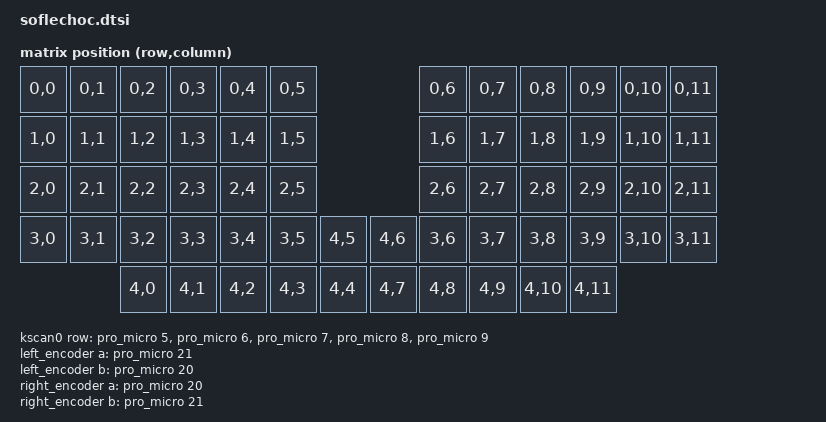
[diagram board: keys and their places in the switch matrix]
/*
 * Sofle Choc (PandaKB) shield for ZMK — nice!nano halves + XIAO/Prospector dongle
 *
 * Based on the in-tree ZMK sofle shield, adapted for the Sofle Choc Wireless:
 * - matrix 5 rows x 6 cols per half (COL2ROW), rows on D5..D9
 * - OLED SSD1306 128x32 on I2C
 * - WS2812 per-key RGB via SPI3 (D0/P0.08 on the nice!nano), 30 LEDs per half
 * - EC11 rotary encoders (D21/D20 on the left half, D20/D21 on the right)
 *
 * This base file is shared by all three builds. The keyboard-only pieces
 * (key matrix, OLED, physical layout) are added by the half overlays, so the
 * dongle build stays clean (Prospector brings its own ST7789 display).
 */

#include <dt-bindings/zmk/matrix_transform.h>
#include <dt-bindings/led/led.h>
#include <layouts/josefadamcik/sofle.dtsi>

&josefadamcik_sofle_layout {
    transform = <&default_transform>;
};

/ {
    chosen {
        zmk,underglow = &led_strip;
    };

    default_transform: keymap_transform_0 {
        compatible = "zmk,matrix-transform";
        columns = <12>;
        rows = <5>;

// | SW6  | SW5  | SW4  | SW3  | SW2  | SW1  |                 | SW1  | SW2  | SW3  | SW4  | SW5  | SW6  |
// | SW12 | SW11 | SW10 | SW9  | SW8  | SW7  |                 | SW7  | SW8  | SW9  | SW10 | SW11 | SW12 |
// | SW18 | SW17 | SW16 | SW15 | SW14 | SW13 |                 | SW13 | SW14 | SW15 | SW16 | SW17 | SW18 |
// | SW24 | SW23 | SW22 | SW21 | SW20 | SW19 | SW25 |   | SW25 | SW19 | SW20 | SW21 | SW22 | SW23 | SW24 |
//               | SW30 | SW29 | SW28 | SW27 | SW26 |   | SW26 | SW27 | SW28 | SW29 | SW30 |
        map = <
            RC(0,0) RC(0,1) RC(0,2) RC(0,3) RC(0,4) RC(0,5)                 RC(0,6) RC(0,7) RC(0,8)  RC(0,9) RC(0,10) RC(0,11)
            RC(1,0) RC(1,1) RC(1,2) RC(1,3) RC(1,4) RC(1,5)                 RC(1,6) RC(1,7) RC(1,8)  RC(1,9) RC(1,10) RC(1,11)
            RC(2,0) RC(2,1) RC(2,2) RC(2,3) RC(2,4) RC(2,5)                 RC(2,6) RC(2,7) RC(2,8)  RC(2,9) RC(2,10) RC(2,11)
            RC(3,0) RC(3,1) RC(3,2) RC(3,3) RC(3,4) RC(3,5) RC(4,5) RC(4,6) RC(3,6) RC(3,7) RC(3,8)  RC(3,9) RC(3,10) RC(3,11)
                            RC(4,0) RC(4,1) RC(4,2) RC(4,3) RC(4,4) RC(4,7) RC(4,8) RC(4,9) RC(4,10) RC(4,11)
        >;
    };

    kscan0: kscan {
        compatible = "zmk,kscan-gpio-matrix";
        wakeup-source;
        diode-direction = "col2row";

        row-gpios
            = <&pro_micro 5 (GPIO_ACTIVE_HIGH | GPIO_PULL_DOWN)>
            , <&pro_micro 6 (GPIO_ACTIVE_HIGH | GPIO_PULL_DOWN)>
            , <&pro_micro 7 (GPIO_ACTIVE_HIGH | GPIO_PULL_DOWN)>
            , <&pro_micro 8 (GPIO_ACTIVE_HIGH | GPIO_PULL_DOWN)>
            , <&pro_micro 9 (GPIO_ACTIVE_HIGH | GPIO_PULL_DOWN)>
            ;
    };

    left_encoder: encoder_left {
        compatible = "alps,ec11";
        a-gpios = <&pro_micro 21 (GPIO_ACTIVE_HIGH | GPIO_PULL_UP)>;
        b-gpios = <&pro_micro 20 (GPIO_ACTIVE_HIGH | GPIO_PULL_UP)>;
        steps = <40>;
        status = "disabled";
    };

    right_encoder: encoder_right {
        compatible = "alps,ec11";
        a-gpios = <&pro_micro 20 (GPIO_ACTIVE_HIGH | GPIO_PULL_UP)>;
        b-gpios = <&pro_micro 21 (GPIO_ACTIVE_HIGH | GPIO_PULL_UP)>;
        steps = <40>;
        status = "disabled";
    };

    sensors: sensors {
        compatible = "zmk,keymap-sensors";
        sensors = <&left_encoder &right_encoder>;
        triggers-per-rotation = <20>;
    };
};

/*
 * WS2812 data line of the Sofle Choc Wireless is wired to the Arduino D0 pin
 * of the nice!nano (P0.08) — P0.06 is the nice!view CS on this PCB, do not
 * use it. Bit-banged GPIO WS2812 is unreliable on nRF52, so drive it through
 * SPI3 (same approach as the in-tree sofle shield for nice!nano).
 */
&pinctrl {
    spi3_default: spi3_default {
        group1 {
            psels = <NRF_PSEL(SPIM_MOSI, 0, 8)>;
        };
    };

    spi3_sleep: spi3_sleep {
        group1 {
            psels = <NRF_PSEL(SPIM_MOSI, 0, 8)>;
            low-power-enable;
        };
    };
};

&spi3 {
    compatible = "nordic,nrf-spim";
    status = "okay";

    pinctrl-0 = <&spi3_default>;
    pinctrl-1 = <&spi3_sleep>;
    pinctrl-names = "default", "sleep";

    led_strip: ws2812@0 {
        compatible = "worldsemi,ws2812-spi";
        reg = <0>; /* ignored, but necessary for SPI bindings */
        spi-max-frequency = <4000000>;
        chain-length = <30>; /* 30 LEDs per half (incl. LED under the encoder) */
        spi-one-frame = <0x70>;
        spi-zero-frame = <0x40>;
        color-mapping = <LED_COLOR_ID_GREEN LED_COLOR_ID_RED LED_COLOR_ID_BLUE>;
    };
};

/* SSD1306 OLED on the pro micro I2C bus; referenced by the half overlays */
&pro_micro_i2c {
    status = "okay";
    oled: ssd1306@3c {
        compatible = "solomon,ssd1306fb";
        reg = <0x3c>;
        width = <128>;
        height = <32>;
        segment-offset = <0>;
        page-offset = <0>;
        display-offset = <0>;
        multiplex-ratio = <31>;
        segment-remap;
        com-invdir;
        com-sequential;
        inversion-on;
        prechargep = <0x22>;
    };
};
